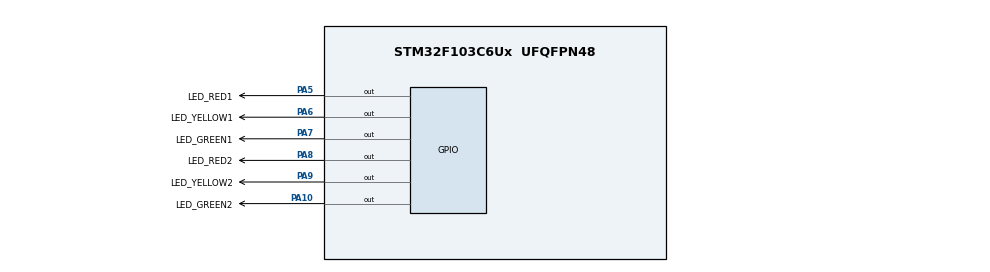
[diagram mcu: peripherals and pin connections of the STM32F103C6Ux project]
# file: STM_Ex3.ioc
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Mcu.Family=STM32F1
Mcu.Name=STM32F103C6Ux
Mcu.Package=UFQFPN48
NVIC.PriorityGroup=NVIC_PRIORITYGROUP_4
PA10.GPIO_Label=LED_GREEN2
PA10.Signal=GPIO_Output
PA5.GPIO_Label=LED_RED1
PA5.Signal=GPIO_Output
PA6.GPIO_Label=LED_YELLOW1
PA6.Signal=GPIO_Output
PA7.GPIO_Label=LED_GREEN1
PA7.Signal=GPIO_Output
PA8.GPIO_Label=LED_RED2
PA8.Signal=GPIO_Output
PA9.GPIO_Label=LED_YELLOW2
PA9.Signal=GPIO_Output
ProjectManager.HeapSize=0x200
ProjectManager.StackSize=0x400
ProjectManager.TargetToolchain=STM32CubeIDE
RCC.APB1Freq_Value=8000000
RCC.APB2Freq_Value=8000000
VP_SYS_VS_ND.Mode=No_Debug
board=custom

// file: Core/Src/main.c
/* USER CODE BEGIN Header */
/**
  ******************************************************************************
  * @file           : main.c
  * @brief          : Main program body
  ******************************************************************************
  * @attention
  *
  * <h2><center>&copy; Copyright (c) 2022 STMicroelectronics.
  * All rights reserved.</center></h2>
  *
  * This software component is licensed by ST under BSD 3-Clause license,
  * the "License"; You may not use this file except in compliance with the
  * License. You may obtain a copy of the License at:
  *                        opensource.org/licenses/BSD-3-Clause
  *
  ******************************************************************************
  */
/* USER CODE END Header */
#include "main.h"

void SystemClock_Config(void);
static void MX_GPIO_Init(void);

int main(void)
{

  /* MCU Configuration--------------------------------------------------------*/

  /* Reset of all peripherals, Initializes the Flash interface and the Systick. */
  HAL_Init();

  /* Configure the system clock */
  SystemClock_Config();

  /* Initialize all configured peripherals */
  MX_GPIO_Init();

  /* Infinite loop */
  /* USER CODE BEGIN WHILE */
  int count1 = 0, count2 = 0; // Two counter indexes, count1 for LED1s and count2 for LED2s

  void LED_RED1_toggle()
	{
	  HAL_GPIO_WritePin(LED_RED1_GPIO_Port, LED_RED1_Pin, RESET);
	  HAL_GPIO_WritePin(LED_YELLOW1_GPIO_Port, LED_YELLOW1_Pin, SET);
	  HAL_GPIO_WritePin(LED_GREEN1_GPIO_Port, LED_GREEN1_Pin, SET);
	}
	void LED_GREEN1_toggle()
	{
	  HAL_GPIO_WritePin(LED_RED1_GPIO_Port, LED_RED1_Pin, SET);
	  HAL_GPIO_WritePin(LED_YELLOW1_GPIO_Port, LED_YELLOW1_Pin, SET);
	  HAL_GPIO_WritePin(LED_GREEN1_GPIO_Port, LED_GREEN1_Pin, RESET);
	}
	void LED_YELLOW1_toggle()
	{
	  HAL_GPIO_WritePin(LED_RED1_GPIO_Port, LED_RED1_Pin, SET);
	  HAL_GPIO_WritePin(LED_YELLOW1_GPIO_Port, LED_YELLOW1_Pin, RESET);
	  HAL_GPIO_WritePin(LED_GREEN1_GPIO_Port, LED_GREEN1_Pin, SET);
	}

	void LED_RED2_toggle()
	{
	  HAL_GPIO_WritePin(LED_RED2_GPIO_Port, LED_RED2_Pin, RESET);
	  HAL_GPIO_WritePin(LED_YELLOW2_GPIO_Port, LED_YELLOW2_Pin, SET);
	  HAL_GPIO_WritePin(LED_GREEN2_GPIO_Port, LED_GREEN2_Pin, SET);
	}
	void LED_GREEN2_toggle()
	{
	  HAL_GPIO_WritePin(LED_RED2_GPIO_Port, LED_RED2_Pin, SET);
	  HAL_GPIO_WritePin(LED_YELLOW2_GPIO_Port, LED_YELLOW2_Pin, SET);
	  HAL_GPIO_WritePin(LED_GREEN2_GPIO_Port, LED_GREEN2_Pin, RESET);
	}
	void LED_YELLOW2_toggle()
	{
	  HAL_GPIO_WritePin(LED_RED2_GPIO_Port, LED_RED2_Pin, SET);
	  HAL_GPIO_WritePin(LED_YELLOW2_GPIO_Port, LED_YELLOW2_Pin, RESET);
	  HAL_GPIO_WritePin(LED_GREEN2_GPIO_Port, LED_GREEN2_Pin, SET);
	}
  while (1)
  {
	  // For counter 1
	  if ((count1 >= 0) && (count1 < 5))
	  {
		  LED_RED1_toggle();
	  }
	  if ((count1 >= 5) && (count1 < 8))
	  {
		  LED_GREEN1_toggle();
	  }
	  if ((count1 >= 8) && (count1 < 10))
	  {
		  LED_YELLOW1_toggle();
	  }
	  // For counter 2
	  if ((count2 >= 0) && (count2 < 3))
	  {
		  LED_GREEN2_toggle();
	  }
	  if ((count2 >= 3) && (count2 < 5))
	  {
		  LED_YELLOW2_toggle();
	  }
	  if ((count2 >= 5) && (count2 < 10))
	  {
		  LED_RED2_toggle();
	  }

	  // Add count indexes
	  count1++; count2++;

	  // Reset count indexes
	  if (count1 >= 10)
	  {
		  count1 = 0;
	  }
	  if (count2 >= 10)
	  {
		  count2 = 0;
	  }
	  HAL_Delay(1000);
    /* USER CODE END WHILE */

  }
}

void SystemClock_Config(void)
{
  RCC_OscInitTypeDef RCC_OscInitStruct = {0};
  RCC_ClkInitTypeDef RCC_ClkInitStruct = {0};

  /** Initializes the RCC Oscillators according to the specified parameters
  * in the RCC_OscInitTypeDef structure.
  */
  RCC_OscInitStruct.OscillatorType = RCC_OSCILLATORTYPE_HSI;
  RCC_OscInitStruct.HSIState = RCC_HSI_ON;
  RCC_OscInitStruct.HSICalibrationValue = RCC_HSICALIBRATION_DEFAULT;
  RCC_OscInitStruct.PLL.PLLState = RCC_PLL_NONE;
  if (HAL_RCC_OscConfig(&RCC_OscInitStruct) != HAL_OK)
  {
    Error_Handler();
  }
  /** Initializes the CPU, AHB and APB buses clocks
  */
  RCC_ClkInitStruct.ClockType = RCC_CLOCKTYPE_HCLK|RCC_CLOCKTYPE_SYSCLK
                              |RCC_CLOCKTYPE_PCLK1|RCC_CLOCKTYPE_PCLK2;
  RCC_ClkInitStruct.SYSCLKSource = RCC_SYSCLKSOURCE_HSI;
  RCC_ClkInitStruct.AHBCLKDivider = RCC_SYSCLK_DIV1;
  RCC_ClkInitStruct.APB1CLKDivider = RCC_HCLK_DIV1;
  RCC_ClkInitStruct.APB2CLKDivider = RCC_HCLK_DIV1;

  if (HAL_RCC_ClockConfig(&RCC_ClkInitStruct, FLASH_LATENCY_0) != HAL_OK)
  {
    Error_Handler();
  }
}

static void MX_GPIO_Init(void)
{
  GPIO_InitTypeDef GPIO_InitStruct = {0};

  /* GPIO Ports Clock Enable */
  __HAL_RCC_GPIOA_CLK_ENABLE();

  /*Configure GPIO pin Output Level */
  HAL_GPIO_WritePin(GPIOA, LED_RED1_Pin|LED_YELLOW1_Pin|LED_GREEN1_Pin|LED_RED2_Pin
                          |LED_YELLOW2_Pin|LED_GREEN2_Pin, GPIO_PIN_RESET);

  /*Configure GPIO pins : LED_RED1_Pin LED_YELLOW1_Pin LED_GREEN1_Pin LED_RED2_Pin
                           LED_YELLOW2_Pin LED_GREEN2_Pin */
  GPIO_InitStruct.Pin = LED_RED1_Pin|LED_YELLOW1_Pin|LED_GREEN1_Pin|LED_RED2_Pin
                          |LED_YELLOW2_Pin|LED_GREEN2_Pin;
  GPIO_InitStruct.Mode = GPIO_MODE_OUTPUT_PP;
  GPIO_InitStruct.Pull = GPIO_NOPULL;
  GPIO_InitStruct.Speed = GPIO_SPEED_FREQ_LOW;
  HAL_GPIO_Init(GPIOA, &GPIO_InitStruct);

}

void Error_Handler(void)
{
  __disable_irq();
  while (1)
  {
  }
}

/************************ (C) COPYRIGHT STMicroelectronics *****END OF FILE****/
